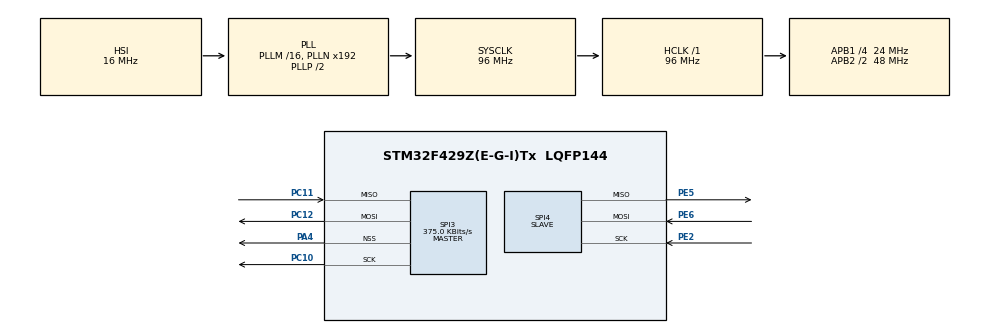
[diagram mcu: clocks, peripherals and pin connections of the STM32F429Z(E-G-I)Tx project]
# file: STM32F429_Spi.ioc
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Mcu.Family=STM32F4
Mcu.Name=STM32F429Z(E-G-I)Tx
Mcu.Package=LQFP144
NVIC.PriorityGroup=NVIC_PRIORITYGROUP_4
NVIC.SPI3_IRQn=true\:0\:0\:false\:false\:true
NVIC.SPI4_IRQn=true\:0\:0\:false\:false\:true
PA13.Mode=Serial_Wire
PA13.Signal=SYS_JTMS-SWDIO
PA14.Mode=Serial_Wire
PA14.Signal=SYS_JTCK-SWCLK
PA4.Mode=NSS_Signal_Hard_Output
PA4.Signal=SPI3_NSS
PC10.Mode=Full_Duplex_Master
PC10.Signal=SPI3_SCK
PC11.Mode=Full_Duplex_Master
PC11.Signal=SPI3_MISO
PC12.Mode=Full_Duplex_Master
PC12.Signal=SPI3_MOSI
PE2.Mode=Full_Duplex_Slave
PE2.Signal=SPI4_SCK
PE5.Mode=Full_Duplex_Slave
PE5.Signal=SPI4_MISO
PE6.Mode=Full_Duplex_Slave
PE6.Signal=SPI4_MOSI
ProjectManager.HeapSize=0x200
ProjectManager.StackSize=0x400
ProjectManager.TargetToolchain=SW4STM32
RCC.AHBFreq_Value=96000000
RCC.APB1CLKDivider=RCC_HCLK_DIV4
RCC.APB1Freq_Value=24000000
RCC.APB1TimFreq_Value=48000000
RCC.APB2CLKDivider=RCC_HCLK_DIV2
RCC.APB2Freq_Value=48000000
RCC.APB2TimFreq_Value=96000000
RCC.CortexFreq_Value=96000000
RCC.HCLKFreq_Value=96000000
RCC.HSE_VALUE=25000000
RCC.HSI_VALUE=16000000
RCC.LSE_VALUE=32768
RCC.SYSCLKFreq_VALUE=96000000
RCC.SYSCLKSource=RCC_SYSCLKSOURCE_PLLCLK
RCC.VCOOutputFreq_Value=192000000
SPI3.BaudRatePrescaler=SPI_BAUDRATEPRESCALER_64
SPI3.CalculateBaudRate=375.0 KBits/s
SPI3.Direction=SPI_DIRECTION_2LINES
SPI3.Mode=SPI_MODE_MASTER
SPI3.VirtualNSS=VM_NSSHARD
SPI3.VirtualType=VM_MASTER
SPI4.Direction=SPI_DIRECTION_2LINES
SPI4.Mode=SPI_MODE_SLAVE
SPI4.VirtualType=VM_SLAVE
board=STM32F429_Spi

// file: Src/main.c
/**
  ******************************************************************************
  * File Name          : main.c
  * Description        : Main program body
  ******************************************************************************
  ** This notice applies to any and all portions of this file
  * that are not between comment pairs USER CODE BEGIN and
  * USER CODE END. Other portions of this file, whether
  * inserted by the user or by software development tools
  * are owned by their respective copyright owners.
  *
  * COPYRIGHT(c) 2017 STMicroelectronics
  *
  * Redistribution and use in source and binary forms, with or without modification,
  * are permitted provided that the following conditions are met:
  *   1. Redistributions of source code must retain the above copyright notice,
  *      this list of conditions and the following disclaimer.
  *   2. Redistributions in binary form must reproduce the above copyright notice,
  *      this list of conditions and the following disclaimer in the documentation
  *      and/or other materials provided with the distribution.
  *   3. Neither the name of STMicroelectronics nor the names of its contributors
  *      may be used to endorse or promote products derived from this software
  *      without specific prior written permission.
  *
  * THIS SOFTWARE IS PROVIDED BY THE COPYRIGHT HOLDERS AND CONTRIBUTORS "AS IS"
  * AND ANY EXPRESS OR IMPLIED WARRANTIES, INCLUDING, BUT NOT LIMITED TO, THE
  * IMPLIED WARRANTIES OF MERCHANTABILITY AND FITNESS FOR A PARTICULAR PURPOSE ARE
  * DISCLAIMED. IN NO EVENT SHALL THE COPYRIGHT HOLDER OR CONTRIBUTORS BE LIABLE
  * FOR ANY DIRECT, INDIRECT, INCIDENTAL, SPECIAL, EXEMPLARY, OR CONSEQUENTIAL
  * DAMAGES (INCLUDING, BUT NOT LIMITED TO, PROCUREMENT OF SUBSTITUTE GOODS OR
  * SERVICES; LOSS OF USE, DATA, OR PROFITS; OR BUSINESS INTERRUPTION) HOWEVER
  * CAUSED AND ON ANY THEORY OF LIABILITY, WHETHER IN CONTRACT, STRICT LIABILITY,
  * OR TORT (INCLUDING NEGLIGENCE OR OTHERWISE) ARISING IN ANY WAY OUT OF THE USE
  * OF THIS SOFTWARE, EVEN IF ADVISED OF THE POSSIBILITY OF SUCH DAMAGE.
  *
  ******************************************************************************
  */
#include "main.h"
#include "stm32f4xx_hal.h"

SPI_HandleTypeDef hspi3;
SPI_HandleTypeDef hspi4;

/* USER CODE BEGIN PV */
/* Private variables ---------------------------------------------------------*/
uint8_t txBuffer[] = {10,20,30,40};
uint8_t rxBuffer[8];
uint8_t slaveRxBuffer[8];
uint8_t slaveTxBuffer[] = {40,50,60,70};
/* USER CODE END PV */

void SystemClock_Config(void);
static void MX_GPIO_Init(void);
static void MX_SPI3_Init(void);
static void MX_SPI4_Init(void);

/* USER CODE BEGIN PFP */
/* Private function prototypes -----------------------------------------------*/

/* USER CODE END PFP */

int main(void)
{

  /* MCU Configuration----------------------------------------------------------*/

  /* Reset of all peripherals, Initializes the Flash interface and the Systick. */
  HAL_Init();

  /* Configure the system clock */
  SystemClock_Config();

  /* Initialize all configured peripherals */
  MX_GPIO_Init();
  MX_SPI3_Init();
  MX_SPI4_Init();

  /* Infinite loop */
  /* USER CODE BEGIN WHILE */
  while (1)
  {
	  int i;
	  volatile HAL_StatusTypeDef result;

	  result = HAL_SPI_TransmitReceive_IT(&hspi4,slaveTxBuffer,slaveRxBuffer,4);
	  if(result == HAL_ERROR ){
		  while(1);
	  }

	  result = HAL_SPI_TransmitReceive_IT(&hspi3,txBuffer,rxBuffer,4);
	  if(result == HAL_ERROR ){
		  while(1);
	  }

	  HAL_Delay(1000);
	  result = HAL_SPI_GetState(&hspi4);
	  //Clear back the Rx buffer to zero
	  for( i = 0 ; i < 4 ; i++){
	  rxBuffer[i] = 0;
	  txBuffer[i] += 4;
	  }
  /* USER CODE END WHILE */

  }

}

/** System Clock Configuration
*/
void SystemClock_Config(void)
{

  RCC_OscInitTypeDef RCC_OscInitStruct;
  RCC_ClkInitTypeDef RCC_ClkInitStruct;

    /**Configure the main internal regulator output voltage
    */
  __HAL_RCC_PWR_CLK_ENABLE();

  __HAL_PWR_VOLTAGESCALING_CONFIG(PWR_REGULATOR_VOLTAGE_SCALE3);

    /**Initializes the CPU, AHB and APB busses clocks
    */
  RCC_OscInitStruct.OscillatorType = RCC_OSCILLATORTYPE_HSI;
  RCC_OscInitStruct.HSIState = RCC_HSI_ON;
  RCC_OscInitStruct.HSICalibrationValue = 16;
  RCC_OscInitStruct.PLL.PLLState = RCC_PLL_ON;
  RCC_OscInitStruct.PLL.PLLSource = RCC_PLLSOURCE_HSI;
  RCC_OscInitStruct.PLL.PLLM = 16;
  RCC_OscInitStruct.PLL.PLLN = 192;
  RCC_OscInitStruct.PLL.PLLP = RCC_PLLP_DIV2;
  RCC_OscInitStruct.PLL.PLLQ = 4;
  if (HAL_RCC_OscConfig(&RCC_OscInitStruct) != HAL_OK)
  {
    _Error_Handler(__FILE__, __LINE__);
  }

    /**Initializes the CPU, AHB and APB busses clocks
    */
  RCC_ClkInitStruct.ClockType = RCC_CLOCKTYPE_HCLK|RCC_CLOCKTYPE_SYSCLK
                              |RCC_CLOCKTYPE_PCLK1|RCC_CLOCKTYPE_PCLK2;
  RCC_ClkInitStruct.SYSCLKSource = RCC_SYSCLKSOURCE_PLLCLK;
  RCC_ClkInitStruct.AHBCLKDivider = RCC_SYSCLK_DIV1;
  RCC_ClkInitStruct.APB1CLKDivider = RCC_HCLK_DIV4;
  RCC_ClkInitStruct.APB2CLKDivider = RCC_HCLK_DIV2;

  if (HAL_RCC_ClockConfig(&RCC_ClkInitStruct, FLASH_LATENCY_3) != HAL_OK)
  {
    _Error_Handler(__FILE__, __LINE__);
  }

    /**Configure the Systick interrupt time
    */
  HAL_SYSTICK_Config(HAL_RCC_GetHCLKFreq()/1000);

    /**Configure the Systick
    */
  HAL_SYSTICK_CLKSourceConfig(SYSTICK_CLKSOURCE_HCLK);

  /* SysTick_IRQn interrupt configuration */
  HAL_NVIC_SetPriority(SysTick_IRQn, 0, 0);
}

/* SPI3 init function */
static void MX_SPI3_Init(void)
{

  hspi3.Instance = SPI3;
  hspi3.Init.Mode = SPI_MODE_MASTER;
  hspi3.Init.Direction = SPI_DIRECTION_2LINES;
  hspi3.Init.DataSize = SPI_DATASIZE_8BIT;
  hspi3.Init.CLKPolarity = SPI_POLARITY_LOW;
  hspi3.Init.CLKPhase = SPI_PHASE_1EDGE;
  hspi3.Init.NSS = SPI_NSS_HARD_OUTPUT;
  hspi3.Init.BaudRatePrescaler = SPI_BAUDRATEPRESCALER_64;
  hspi3.Init.FirstBit = SPI_FIRSTBIT_MSB;
  hspi3.Init.TIMode = SPI_TIMODE_DISABLE;
  hspi3.Init.CRCCalculation = SPI_CRCCALCULATION_DISABLE;
  hspi3.Init.CRCPolynomial = 10;
  if (HAL_SPI_Init(&hspi3) != HAL_OK)
  {
    _Error_Handler(__FILE__, __LINE__);
  }

}

/* SPI4 init function */
static void MX_SPI4_Init(void)
{

  hspi4.Instance = SPI4;
  hspi4.Init.Mode = SPI_MODE_SLAVE;
  hspi4.Init.Direction = SPI_DIRECTION_2LINES;
  hspi4.Init.DataSize = SPI_DATASIZE_8BIT;
  hspi4.Init.CLKPolarity = SPI_POLARITY_LOW;
  hspi4.Init.CLKPhase = SPI_PHASE_1EDGE;
  hspi4.Init.NSS = SPI_NSS_SOFT;
  hspi4.Init.FirstBit = SPI_FIRSTBIT_MSB;
  hspi4.Init.TIMode = SPI_TIMODE_DISABLE;
  hspi4.Init.CRCCalculation = SPI_CRCCALCULATION_DISABLE;
  hspi4.Init.CRCPolynomial = 10;
  if (HAL_SPI_Init(&hspi4) != HAL_OK)
  {
    _Error_Handler(__FILE__, __LINE__);
  }

}

/** Configure pins as
        * Analog
        * Input
        * Output
        * EVENT_OUT
        * EXTI
*/
static void MX_GPIO_Init(void)
{

  /* GPIO Ports Clock Enable */
  __HAL_RCC_GPIOE_CLK_ENABLE();
  __HAL_RCC_GPIOA_CLK_ENABLE();
  __HAL_RCC_GPIOC_CLK_ENABLE();

}

/* USER CODE BEGIN 4 */

void HAL_SPI_TxRxCpltCallback(SPI_HandleTypeDef *hspi){
	int i;
	volatile uint8_t data;

	if(hspi == &hspi4){
		for(i=0 ; i < 4 ; i++){
			data = rxBuffer[i];
		}
	}
}
/* USER CODE END 4 */

void _Error_Handler(char * file, int line)
{
  while(1)
  {
  }
}

/************************ (C) COPYRIGHT STMicroelectronics *****END OF FILE****/
